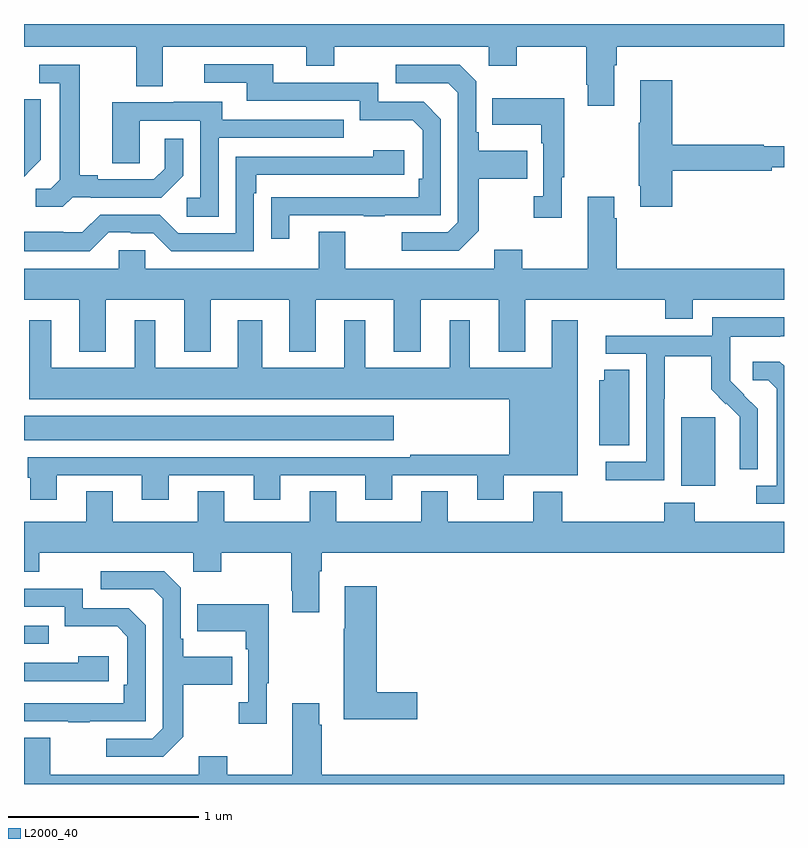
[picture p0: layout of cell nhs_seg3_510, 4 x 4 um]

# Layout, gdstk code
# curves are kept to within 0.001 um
import gdstk
lib = gdstk.Library(unit=1e-6, precision=1e-09)
def R(c, l, rs):  # rectangles x0, y0, x1, y1
    for r in rs: c.add(gdstk.rectangle(r[:2], r[2:], *l))
def P(c, l, *ps):  # polygons
    for p in ps: c.add(gdstk.Polygon(p, *l))
L2000_40 = (2000, 40)

nhs_seg3_510 = lib.new_cell('nhs_seg3_510')
R(nhs_seg3_510, L2000_40, [(137,667.137,137.129,667.233), (140.459,667.97,140.638,668.331), (137,668.21,138.946,668.338)])
P(nhs_seg3_510, L2000_40, [(140.107,670.184),(140.12,670.184),(140.12,670.28),(141,670.28),(141,670.4),(137,670.4),(137,670.28),(137.591,670.28),(137.591,670.072),(137.731,670.072),(137.731,670.28),(138.485,670.28),(138.485,670.181),(138.633,670.181),(138.633,670.28),(139.446,670.28),(139.446,670.181),(139.593,670.181),(139.593,670.28),(139.96,670.28),(139.96,670.081),(139.967,670.081),(139.967,669.969),(140.107,669.969)],
  [(138.397,669.393),(138.787,669.393),(138.787,669.388),(138.899,669.388),(138.899,669.393),(139.194,669.393),(139.194,669.9),(139.104,669.99),(138.864,669.99),(138.864,670.092),(138.313,670.092),(138.313,670.188),(137.949,670.188),(137.949,670.092),(138.173,670.092),(138.173,669.996),(138.768,669.996),(138.768,669.893),(139.045,669.893),(139.098,669.84),(139.098,669.586),(139.078,669.586),(139.078,669.489),(138.301,669.488),(138.301,669.27),(138.397,669.27)],
  [(139.393,669.313),(139.393,669.586),(139.649,669.586),(139.649,669.733),(139.393,669.733),(139.393,669.829),(139.38,669.829),(139.38,670.098),(139.293,670.185),(138.957,670.185),(138.957,670.089),(139.233,670.089),(139.284,670.038),(139.284,669.357),(139.23,669.303),(138.987,669.303),(138.987,669.207),(139.287,669.207)],
  [(137.256,669.489),(137.35,669.489),(137.35,669.486),(137.722,669.486),(137.838,669.602),(137.838,669.796),(137.741,669.796),(137.741,669.639),(137.684,669.582),(137.389,669.582),(137.389,669.605),(137.293,669.605),(137.293,670.185),(137.079,670.185),(137.079,670.089),(137.189,670.089),(137.189,669.581),(137.142,669.534),(137.061,669.534),(137.061,669.437),(137.204,669.437)],
  [(140.411,669.628),(140.936,669.628),(140.936,669.647),(141,669.647),(141,669.757),(140.894,669.757),(140.894,669.764),(140.411,669.764),(140.411,670.105),(140.243,670.105),(140.243,669.881),(140.236,669.881),(140.236,669.55),(140.243,669.55),(140.243,669.438),(140.411,669.438)],
  [(139.831,669.593),(139.843,669.593),(139.843,670.009),(139.465,670.009),(139.465,669.869),(139.722,669.869),(139.722,669.773),(139.734,669.773),(139.734,669.494),(139.683,669.494),(139.683,669.381),(139.831,669.381)],
  [(137.016,669.612),(137.015,669.613),(137.088,669.686),(137.088,670.004),(137,670.004),(137,669.596)],
  [(138.024,669.801),(138.683,669.801),(138.683,669.897),(138.043,669.897),(138.043,669.991),(137.789,669.991),(137.789,669.987),(137.465,669.987),(137.465,669.667),(137.61,669.667),(137.61,669.891),(137.928,669.891),(137.928,669.486),(137.856,669.486),(137.856,669.385),(138.024,669.385)],
  [(137.445,669.303),(137.561,669.303),(137.561,669.3),(137.679,669.3),(137.775,669.204),(138.21,669.204),(138.21,669.509),(138.223,669.509),(138.223,669.606),(139,669.606),(139,669.736),(138.839,669.736),(138.839,669.702),(138.114,669.702),(138.114,669.3),(137.811,669.3),(137.715,669.396),(137.4,669.396),(137.307,669.303),(137.207,669.303),(137.207,669.307),(137,669.307),(137,669.203),(137.345,669.203)],
  [(137.431,668.948),(137.843,668.948),(137.843,668.675),(137.983,668.675),(137.983,668.948),(138.395,668.948),(138.395,668.675),(138.535,668.675),(138.535,668.948),(138.947,668.948),(138.947,668.675),(139.087,668.675),(139.087,668.948),(139.499,668.948),(139.499,668.675),(139.639,668.675),(139.639,668.948),(140.374,668.948),(140.374,668.849),(140.521,668.849),(140.521,668.948),(141,668.948),(141,669.112),(140.12,669.112),(140.12,669.377),(140.107,669.377),(140.107,669.49),(139.967,669.49),(139.967,669.112),(139.623,669.112),(139.623,669.211),(139.475,669.211),(139.475,669.112),(138.691,669.112),(138.691,669.307),(138.551,669.307),(138.551,669.112),(137.637,669.112),(137.637,669.21),(137.499,669.21),(137.499,669.112),(137,669.112),(137,668.948),(137.291,668.948),(137.291,668.675),(137.431,668.675)],
  [(140.37,668.428),(140.373,668.428),(140.373,668.652),(140.617,668.652),(140.617,668.477),(140.694,668.4),(140.697,668.403),(140.768,668.333),(140.768,668.21),(140.766,668.21),(140.766,668.056),(140.862,668.056),(140.862,668.374),(140.716,668.522),(140.716,668.619),(140.718,668.619),(140.718,668.753),(140.981,668.753),(140.981,668.757),(141,668.757),(141,668.857),(140.622,668.857),(140.622,668.76),(140.061,668.76),(140.061,668.664),(140.274,668.664),(140.274,668.097),(140.061,668.097),(140.061,667.999),(140.37,667.999)],
  [(137.173,668.025),(137.621,668.025),(137.621,667.896),(137.761,667.896),(137.761,668.025),(138.209,668.025),(138.209,667.896),(138.349,667.896),(138.349,668.025),(138.797,668.025),(138.797,667.896),(138.937,667.896),(138.937,668.025),(139.385,668.025),(139.385,667.896),(139.525,667.896),(139.525,668.024),(139.915,668.024),(139.915,668.842),(139.778,668.842),(139.778,668.59),(139.345,668.59),(139.345,668.842),(139.241,668.842),(139.241,668.59),(138.796,668.59),(138.796,668.842),(138.686,668.842),(138.686,668.59),(138.253,668.59),(138.253,668.842),(138.125,668.842),(138.125,668.59),(137.692,668.59),(137.692,668.842),(137.582,668.842),(137.582,668.59),(137.143,668.59),(137.143,668.842),(137.027,668.842),(137.027,668.426),(139.553,668.426),(139.553,668.134),(139.033,668.134),(139.033,668.121),(137.021,668.121),(137.021,668.013),(137.033,668.013),(137.033,667.896),(137.173,667.896)],
  [(141,668.601),(140.978,668.623),(140.835,668.623),(140.835,668.526),(140.916,668.526),(140.963,668.479),(140.963,667.971),(140.853,667.971),(140.853,667.875),(141,667.875)],
  [(140.185,668.579),(140.054,668.579),(140.054,668.526),(140.027,668.526),(140.027,668.182),(140.185,668.182)],
  [(138.553,667.52),(138.566,667.52),(138.566,667.616),(141,667.616),(141,667.78),(140.529,667.78),(140.529,667.879),(140.369,667.879),(140.369,667.78),(139.832,667.78),(139.832,667.939),(139.679,667.939),(139.679,667.78),(139.231,667.78),(139.231,667.94),(139.091,667.94),(139.091,667.78),(138.643,667.78),(138.643,667.94),(138.503,667.94),(138.503,667.78),(138.055,667.78),(138.055,667.94),(137.915,667.94),(137.915,667.78),(137.467,667.78),(137.467,667.94),(137.327,667.94),(137.327,667.78),(137,667.78),(137,667.517),(137.079,667.517),(137.079,667.616),(137.892,667.616),(137.892,667.517),(138.039,667.517),(138.039,667.616),(138.406,667.616),(138.406,667.417),(138.413,667.417),(138.413,667.305),(138.553,667.305)],
  [(137.839,666.649),(137.839,666.922),(138.095,666.922),(138.095,667.069),(137.839,667.069),(137.839,667.165),(137.826,667.165),(137.826,667.434),(137.739,667.521),(137.403,667.521),(137.403,667.425),(137.679,667.425),(137.73,667.374),(137.73,666.693),(137.676,666.639),(137.433,666.639),(137.433,666.543),(137.733,666.543)],
  [(139.069,666.884),(138.857,666.884),(138.857,667.441),(138.689,667.441),(138.689,667.217),(138.682,667.217),(138.682,666.742),(139.069,666.742)],
  [(137.345,666.729),(137.64,666.729),(137.64,667.236),(137.55,667.326),(137.31,667.326),(137.31,667.428),(137,667.428),(137,667.332),(137.214,667.332),(137.214,667.229),(137.491,667.229),(137.544,667.176),(137.544,666.922),(137.524,666.922),(137.524,666.825),(137,666.825),(137,666.729),(137.233,666.729),(137.233,666.724),(137.345,666.724)],
  [(138.277,666.929),(138.289,666.929),(138.289,667.345),(137.911,667.345),(137.911,667.205),(138.168,667.205),(138.168,667.109),(138.18,667.109),(138.18,666.83),(138.129,666.83),(138.129,666.717),(138.277,666.717)],
  [(137.446,667.072),(137.285,667.072),(137.285,667.038),(137,667.038),(137,666.942),(137.446,666.942)],
  [(141,666.448),(138.566,666.448),(138.566,666.713),(138.553,666.713),(138.553,666.826),(138.413,666.826),(138.413,666.448),(138.069,666.448),(138.069,666.547),(137.921,666.547),(137.921,666.448),(137.137,666.448),(137.137,666.643),(137,666.643),(137,666.4),(141,666.4)])

lib.write_gds('nhs_seg3_510.gds')
